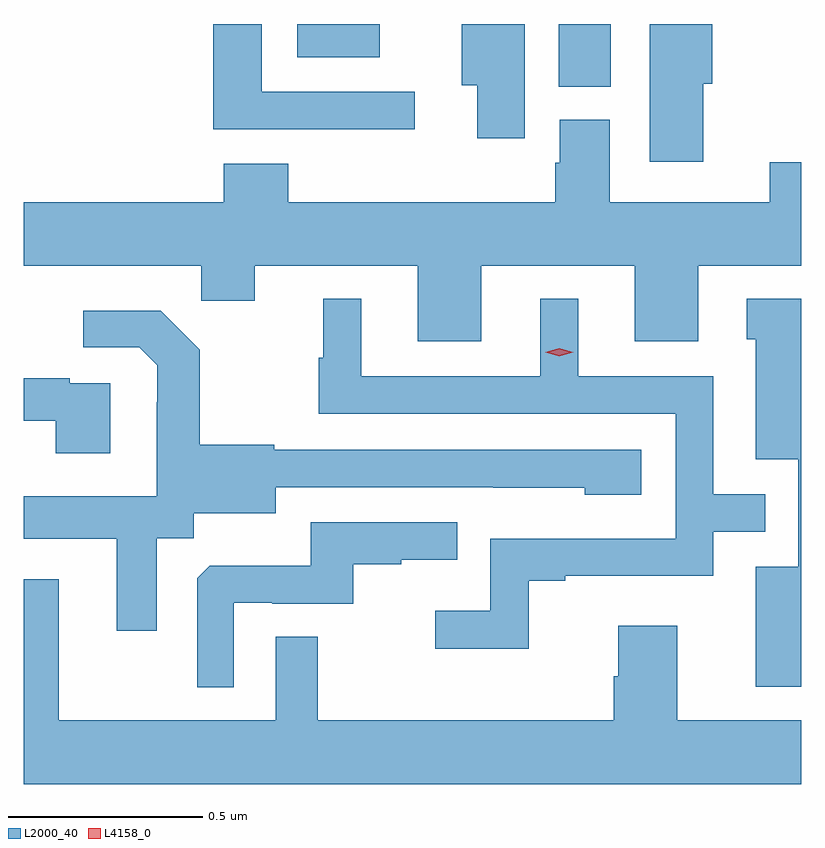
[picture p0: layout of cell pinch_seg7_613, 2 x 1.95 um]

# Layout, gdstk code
import gdstk
lib = gdstk.Library(unit=1e-6, precision=1e-09)
def R(c, l, rs):  # rectangles x0, y0, x1, y1
    for r in rs: c.add(gdstk.rectangle(r[:2], r[2:], *l))
def P(c, l, *ps):  # polygons
    for p in ps: c.add(gdstk.Polygon(p, *l))
L2000_40 = (2000, 40)
L4158_0 = (4158, 0)

pinch_seg7_613 = lib.new_cell('pinch_seg7_613')
R(pinch_seg7_613, L2000_40, [(159.8,1045.033,159.934,1045.194), (159.128,1045.109,159.34,1045.194)])
P(pinch_seg7_613, L2000_40, [(160.171,1045.041),(160.195,1045.041),(160.195,1045.194),(160.034,1045.194),(160.034,1044.84),(160.171,1044.84)],
  [(159.712,1045.194),(159.551,1045.194),(159.551,1045.037),(159.59,1045.037),(159.59,1044.9),(159.712,1044.9)],
  [(159.43,1045.02),(159.037,1045.02),(159.037,1045.194),(158.912,1045.194),(158.912,1044.923),(159.43,1044.923)],
  [(158.939,1044.835),(158.939,1044.736),(158.424,1044.736),(158.424,1044.572),(158.881,1044.572),(158.881,1044.482),(159.019,1044.482),(159.019,1044.572),(159.437,1044.572),(159.437,1044.378),(159.601,1044.378),(159.601,1044.572),(159.995,1044.572),(159.995,1044.378),(160.159,1044.378),(160.159,1044.572),(160.424,1044.572),(160.424,1044.838),(160.343,1044.838),(160.343,1044.736),(159.931,1044.736),(159.931,1044.948),(159.803,1044.948),(159.803,1044.837),(159.791,1044.837),(159.791,1044.736),(159.104,1044.736),(159.104,1044.835)],
  [(160.423,1043.698),(160.424,1043.698),(160.424,1044.183),(160.423,1044.183),(160.423,1044.487),(160.283,1044.487),(160.283,1044.384),(160.307,1044.384),(160.307,1044.075),(160.416,1044.075),(160.416,1043.799),(160.307,1043.799),(160.307,1043.49),(160.423,1043.49)],
  [(159.723,1043.763),(159.817,1043.763),(159.817,1043.775),(160.197,1043.775),(160.197,1043.889),(160.331,1043.889),(160.331,1043.985),(160.197,1043.985),(160.197,1044.288),(159.85,1044.288),(159.85,1044.487),(159.752,1044.487),(159.752,1044.288),(159.292,1044.288),(159.292,1044.487),(159.194,1044.487),(159.194,1044.336),(159.183,1044.336),(159.183,1044.192),(160.101,1044.192),(160.101,1043.871),(159.624,1043.871),(159.624,1043.686),(159.483,1043.686),(159.483,1043.588),(159.723,1043.588)],
  [(158.767,1043.872),(158.862,1043.872),(158.862,1043.936),(159.073,1043.936),(159.073,1044.003),(159.631,1044.003),(159.631,1044.002),(159.867,1044.002),(159.867,1043.984),(160.012,1043.984),(160.012,1044.099),(159.069,1044.099),(159.069,1044.112),(158.877,1044.112),(158.877,1044.357),(158.777,1044.457),(158.577,1044.457),(158.577,1044.363),(158.721,1044.363),(158.768,1044.316),(158.768,1044.221),(158.766,1044.221),(158.766,1043.98),(158.424,1043.98),(158.424,1043.87),(158.663,1043.87),(158.663,1043.634),(158.767,1043.634)],
  [(158.647,1044.27),(158.543,1044.27),(158.543,1044.283),(158.424,1044.283),(158.424,1044.174),(158.507,1044.174),(158.507,1044.09),(158.647,1044.09)],
  [(158.964,1043.706),(159.064,1043.706),(159.064,1043.703),(159.272,1043.703),(159.272,1043.805),(159.395,1043.805),(159.395,1043.816),(159.539,1043.816),(159.539,1043.913),(159.162,1043.913),(159.162,1043.801),(158.903,1043.801),(158.871,1043.769),(158.871,1043.489),(158.964,1043.489)],
  [(160.424,1043.404),(160.105,1043.404),(160.105,1043.647),(159.953,1043.647),(159.953,1043.517),(159.941,1043.517),(159.941,1043.404),(159.181,1043.404),(159.181,1043.618),(159.072,1043.618),(159.072,1043.404),(158.515,1043.404),(158.515,1043.767),(158.424,1043.767),(158.424,1043.24),(160.424,1043.24)])
P(pinch_seg7_613, L4158_0, [(159.801,1044.34),(159.765,1044.35),(159.765,1044.35),(159.765,1044.35),(159.801,1044.36),(159.837,1044.35),(159.837,1044.35),(159.837,1044.35)])

lib.write_gds('pinch_seg7_613.gds')
